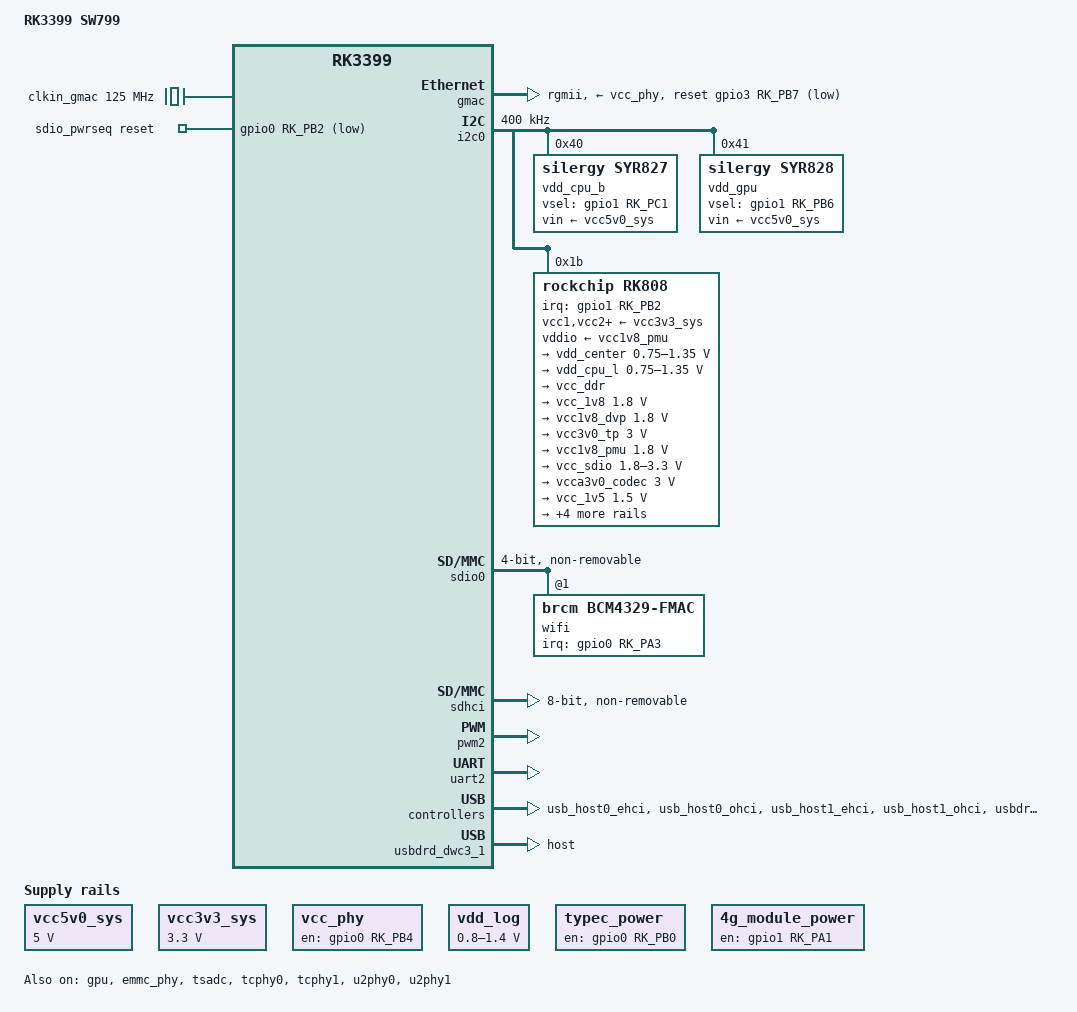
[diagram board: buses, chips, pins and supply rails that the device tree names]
/dts-v1/;
#include <dt-bindings/pwm/pwm.h>
#include <dt-bindings/input/input.h>
#include "rk3399.dtsi"
#include "rk3399-opp.dtsi"

/ {
	model = "RK3399 SW799";
	compatible = "rockchip,rk3399-sw799", "rockchip,rk3399";

	aliases {
		mmc0 = &sdhci;
	};

	clkin_gmac: external-gmac-clock {
		compatible = "fixed-clock";
		clock-frequency = <125000000>;
		clock-output-names = "clkin_gmac";
		#clock-cells = <0>;
	};

	vcc5v0_sys: vcc5v0-sys {
		compatible = "regulator-fixed";
		regulator-name = "vcc5v0_sys";
		regulator-always-on;
		regulator-boot-on;
		regulator-min-microvolt = <5000000>;
		regulator-max-microvolt = <5000000>;
	};

	vcc3v3_sys: vcc3v3-sys {
		compatible = "regulator-fixed";
		regulator-name = "vcc3v3_sys";
		regulator-always-on;
		regulator-boot-on;
		regulator-min-microvolt = <3300000>;
		regulator-max-microvolt = <3300000>;
	};

	vcc_phy: vcc-phy {
		compatible = "regulator-fixed";
		enable-active-high;
		gpio = <&gpio0 RK_PB4 GPIO_ACTIVE_HIGH>;
		pinctrl-names = "default";
		regulator-name = "vcc_phy";
		regulator-always-on;
		regulator-boot-on;
	};

	vdd_log: vdd-log  {
		compatible = "pwm-regulator";
		pwms = <&pwm2 0 25000 1>;
		regulator-name = "vdd_log";
		regulator-min-microvolt = <800000>;
		regulator-max-microvolt = <1400000>;
		rockchip,pwm_voltage = <900000>;
		regulator-always-on;
		regulator-boot-on;
	};

	sdio_pwrseq: sdio-pwrseq {
		compatible = "mmc-pwrseq-simple";
		clocks = <&rk808 1>;
		clock-names = "ext_clock";
		pinctrl-names = "default";
		reset-gpios = <&gpio0 RK_PB2 GPIO_ACTIVE_LOW>;
	};

	typec_power {
		status = "okay";
		compatible = "regulator-fixed";
		enable-active-high;
		gpio = <&gpio0 RK_PB0 GPIO_ACTIVE_HIGH>;
		pinctrl-names = "default";
		regulator-name = "typec_power";
		regulator-always-on;
	};

	usb_power {
		status = "okay";
		compatible = "regulator-fixed";
		enable-active-high;
		gpio = <&gpio2 RK_PD3 GPIO_ACTIVE_HIGH>;
		pinctrl-names = "default";
		regulator-name = "typec_power";
		regulator-always-on;
	};

	4g_module_power {
		status = "okay";
		compatible = "regulator-fixed";
		enable-active-high;
		gpio = <&gpio1 RK_PA1 GPIO_ACTIVE_HIGH>;
		pinctrl-names = "default";
		regulator-name = "4g_module_power";
		regulator-always-on;
	};
};

&cpu_l0 {
	cpu-supply = <&vdd_cpu_l>;
};

&cpu_l1 {
	cpu-supply = <&vdd_cpu_l>;
};

&cpu_l2 {
	cpu-supply = <&vdd_cpu_l>;
};

&cpu_l3 {
	cpu-supply = <&vdd_cpu_l>;
};

&cpu_b0 {
	cpu-supply = <&vdd_cpu_b>;
};

&cpu_b1 {
	cpu-supply = <&vdd_cpu_b>;
};

&gpu {
	mali-supply = <&vdd_gpu>;
	status = "okay";
};

&emmc_phy {
	status = "okay";
};

&gmac {
	phy-supply = <&vcc_phy>;
	phy-mode = "rgmii";
	clock_in_out = "input";
	snps,reset-gpio = <&gpio3 RK_PB7 GPIO_ACTIVE_LOW>;
	snps,reset-active-low;
	snps,reset-delays-us = <0 10000 50000>;
	assigned-clocks = <&cru SCLK_RMII_SRC>;
	assigned-clock-parents = <&clkin_gmac>;
	pinctrl-names = "default";
	pinctrl-0 = <&rgmii_pins>;
	tx_delay = <0x28>;
	rx_delay = <0x11>;
	status = "okay";
};

&i2c0 {
	status = "okay";
	i2c-scl-rising-time-ns = <168>;
	i2c-scl-falling-time-ns = <4>;
	clock-frequency = <400000>;

	vdd_cpu_b: syr827@40 {
		compatible = "silergy,syr827";
		reg = <0x40>;
		vin-supply = <&vcc5v0_sys>;
		regulator-compatible = "fan53555-reg";
		vsel-gpios = <&gpio1 RK_PC1 GPIO_ACTIVE_HIGH>;
		regulator-name = "vdd_cpu_b";
		regulator-min-microvolt = <712500>;
		regulator-max-microvolt = <1500000>;
		regulator-ramp-delay = <1000>;
		fcs,suspend-voltage-selector = <1>;
		regulator-always-on;
		regulator-boot-on;
		regulator-initial-state = <3>;

		regulator-state-mem {
			regulator-off-in-suspend;
		};
	};

	vdd_gpu: syr828@41 {
		compatible = "silergy,syr828";
		reg = <0x41>;
		vin-supply = <&vcc5v0_sys>;
		regulator-compatible = "fan53555-reg";
		pinctrl-names = "default";
		vsel-gpios = <&gpio1 RK_PB6 GPIO_ACTIVE_HIGH>;
		regulator-name = "vdd_gpu";
		regulator-min-microvolt = <712500>;
		regulator-max-microvolt = <1500000>;
		regulator-ramp-delay = <1000>;
		fcs,suspend-voltage-selector = <1>;
		regulator-always-on;
		regulator-boot-on;
		regulator-initial-state = <3>;

		regulator-state-mem {
			regulator-off-in-suspend;
		};
	};

	rk808: pmic@1b {
		compatible = "rockchip,rk808";
		reg = <0x1b>;
		interrupt-parent = <&gpio1>;
		interrupts = <RK_PB2 IRQ_TYPE_LEVEL_LOW>;
		pinctrl-names = "default";
		rockchip,system-power-controller;
		wakeup-source;
		#clock-cells = <1>;
		clock-output-names = "xin32k", "rk808-clkout2";
		vcc1-supply = <&vcc3v3_sys>;
		vcc2-supply = <&vcc3v3_sys>;
		vcc3-supply = <&vcc3v3_sys>;
		vcc4-supply = <&vcc3v3_sys>;
		vcc6-supply = <&vcc3v3_sys>;
		vcc7-supply = <&vcc3v3_sys>;
		vcc8-supply = <&vcc3v3_sys>;
		vcc9-supply = <&vcc3v3_sys>;
		vcc10-supply = <&vcc3v3_sys>;
		vcc11-supply = <&vcc3v3_sys>;
		vcc12-supply = <&vcc3v3_sys>;
		vddio-supply = <&vcc1v8_pmu>;

		regulators {

			vdd_center: DCDC_REG1 {
				regulator-always-on;
				regulator-boot-on;
				regulator-min-microvolt = <750000>;
				regulator-max-microvolt = <1350000>;
				regulator-ramp-delay = <6001>;
				regulator-name = "vdd_center";

				regulator-state-mem {
					regulator-off-in-suspend;
				};
			};

			vdd_cpu_l: DCDC_REG2 {
				regulator-always-on;
				regulator-boot-on;
				regulator-min-microvolt = <750000>;
				regulator-max-microvolt = <1350000>;
				regulator-ramp-delay = <6001>;
				regulator-name = "vdd_cpu_l";

				regulator-state-mem {
					regulator-off-in-suspend;
				};
			};

			vcc_ddr: DCDC_REG3 {
				regulator-always-on;
				regulator-boot-on;
				regulator-name = "vcc_ddr";

				regulator-state-mem {
					regulator-on-in-suspend;
				};
			};

			vcc_1v8: DCDC_REG4 {
				regulator-always-on;
				regulator-boot-on;
				regulator-min-microvolt = <1800000>;
				regulator-max-microvolt = <1800000>;
				regulator-name = "vcc_1v8";

				regulator-state-mem {
					regulator-on-in-suspend;
					regulator-suspend-microvolt = <1800000>;
				};
			};

			vcc1v8_dvp: LDO_REG1 {
				regulator-always-on;
				regulator-boot-on;
				regulator-min-microvolt = <1800000>;
				regulator-max-microvolt = <1800000>;
				regulator-name = "vcc1v8_dvp";

				regulator-state-mem {
					regulator-off-in-suspend;
				};
			};

			vcc3v0_tp: LDO_REG2 {
				regulator-always-on;
				regulator-boot-on;
				regulator-min-microvolt = <3000000>;
				regulator-max-microvolt = <3000000>;
				regulator-name = "vcc3v0_tp";

				regulator-state-mem {
					regulator-off-in-suspend;
				};
			};

			vcc1v8_pmu: LDO_REG3 {
				regulator-always-on;
				regulator-boot-on;
				regulator-min-microvolt = <1800000>;
				regulator-max-microvolt = <1800000>;
				regulator-name = "vcc1v8_pmu";

				regulator-state-mem {
					regulator-on-in-suspend;
					regulator-suspend-microvolt = <1800000>;
				};
			};

			vcc_sdio: LDO_REG4 {
				regulator-always-on;
				regulator-boot-on;
				regulator-min-microvolt = <1800000>;
				regulator-max-microvolt = <3300000>;
				regulator-name = "vcc_sdio";

				regulator-state-mem {
					regulator-on-in-suspend;
					regulator-suspend-microvolt = <3300000>;
				};
			};

			vcca3v0_codec: LDO_REG5 {
				regulator-always-on;
				regulator-boot-on;
				regulator-min-microvolt = <3000000>;
				regulator-max-microvolt = <3000000>;
				regulator-name = "vcca3v0_codec";

				regulator-state-mem {
					regulator-off-in-suspend;
				};
			};

			vcc_1v5: LDO_REG6 {
				regulator-always-on;
				regulator-boot-on;
				regulator-min-microvolt = <1500000>;
				regulator-max-microvolt = <1500000>;
				regulator-name = "vcc_1v5";

				regulator-state-mem {
					regulator-on-in-suspend;
					regulator-suspend-microvolt = <1500000>;
				};
			};

			vcc1v8_codec: LDO_REG7 {
				regulator-always-on;
				regulator-boot-on;
				regulator-min-microvolt = <1800000>;
				regulator-max-microvolt = <1800000>;
				regulator-name = "vcc1v8_codec";

				regulator-state-mem {
					regulator-off-in-suspend;
				};
			};

			vcc_3v0: LDO_REG8 {
				regulator-always-on;
				regulator-boot-on;
				regulator-min-microvolt = <3000000>;
				regulator-max-microvolt = <3000000>;
				regulator-name = "vcc_3v0";

				regulator-state-mem {
					regulator-on-in-suspend;
					regulator-suspend-microvolt = <3000000>;
				};
			};

			vcc3v3_s3: SWITCH_REG1 {
				regulator-always-on;
				regulator-boot-on;
				regulator-name = "vcc3v3_s3";

				regulator-state-mem {
					regulator-off-in-suspend;
				};
			};

			vcc3v3_s0: SWITCH_REG2 {
				regulator-always-on;
				regulator-boot-on;
				regulator-name = "vcc3v3_s0";

				regulator-state-mem {
					regulator-off-in-suspend;
				};
			};
		};
	};
};

&sdio0 {
	bus-width = <4>;
	cap-sdio-irq;
	cap-sd-highspeed;
	keep-power-in-suspend;
	mmc-pwrseq = <&sdio_pwrseq>;
	non-removable;
	pinctrl-names = "default";
	pinctrl-0 = <&sdio0_bus4 &sdio0_cmd &sdio0_clk>;
	sd-uhs-sdr104;
	#address-cells = <1>;
	#size-cells = <0>;
	status = "okay";

	wifi@1 {
		reg = <1>;
		compatible = "brcm,bcm4329-fmac";
		interrupt-parent = <&gpio0>;
		interrupts = <RK_PA3 GPIO_ACTIVE_HIGH>;
		interrupt-names = "host-wake";
		brcm,drive-strength = <5>;
		pinctrl-names = "default";
	};
};

&sdhci {
	bus-width = <8>;
	mmc-hs400-1_8v;
	mmc-hs400-enhanced-strobe;
	keep-power-in-suspend;
	non-removable;
	supports-emmc;
	status = "okay";
};

&tsadc {
	status = "okay";
	rockchip,hw-tshut-mode = <1>;
	rockchip,hw-tshut-polarity = <1>;
};

&pwm2 {
	status = "okay";
};

&uart2 {
	status = "okay";
};

&tcphy0 {
	status = "okay";
};

&tcphy1 {
	status = "okay";
};

&u2phy0 {
	status = "okay";

	u2phy0_otg: otg-port {
		status = "disable";
	};

	u2phy0_host: host-port {
		status = "okay";
	};
};

&u2phy1 {
	status = "okay";

	u2phy1_otg: otg-port {
		status = "okay";
	};

	u2phy1_host: host-port {
		status = "okay";
	};
};

&usb_host0_ehci {
	status = "okay";
};

&usb_host0_ohci {
	status = "okay";
};

&usb_host1_ehci {
	status = "okay";
};

&usb_host1_ohci {
	status = "okay";
};

&usbdrd3_0 {
	status = "disable";
};

&usbdrd_dwc3_0 {
	status = "disable";
	dr_mode = "host";
};

&usbdrd3_1 {
	status = "okay";
};

&usbdrd_dwc3_1 {
	status = "okay";
	dr_mode = "host";
};
